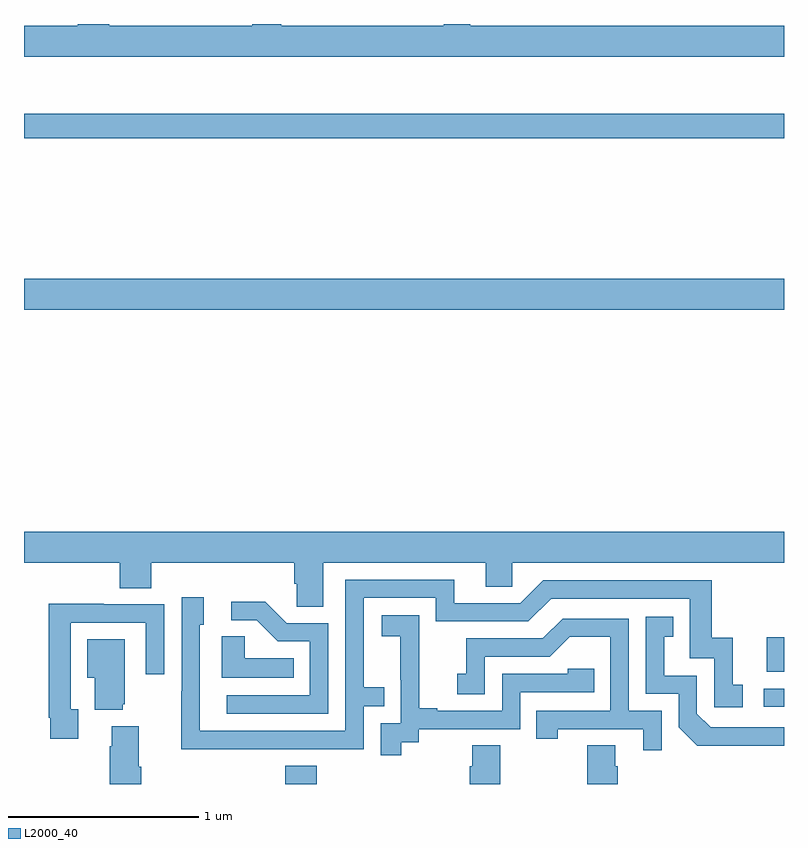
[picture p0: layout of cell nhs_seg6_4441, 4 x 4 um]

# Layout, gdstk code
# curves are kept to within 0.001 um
import gdstk
lib = gdstk.Library(unit=1e-6, precision=1e-09)
def R(c, l, rs):  # rectangles x0, y0, x1, y1
    for r in rs: c.add(gdstk.rectangle(r[:2], r[2:], *l))
def P(c, l, *ps):  # polygons
    for p in ps: c.add(gdstk.Polygon(p, *l))
L2000_40 = (2000, 40)

nhs_seg6_4441 = lib.new_cell('nhs_seg6_4441')
R(nhs_seg6_4441, L2000_40, [(374.375,951.5,374.54,951.595), (376.893,951.906,377,952.002), (376.91,952.091,377,952.273), (373,953.996,377,954.16), (373,954.898,377,955.027)])
P(nhs_seg6_4441, L2000_40, [(377,955.492),(375.348,955.492),(375.348,955.5),(375.209,955.5),(375.209,955.492),(374.353,955.492),(374.353,955.5),(374.201,955.5),(374.201,955.492),(373.448,955.492),(373.448,955.5),(373.283,955.5),(373.283,955.492),(373,955.492),(373,955.328),(377,955.328)],
  [(374.575,952.664),(375.431,952.664),(375.431,952.537),(375.57,952.537),(375.57,952.664),(377,952.664),(377,952.828),(373,952.828),(373,952.664),(373.505,952.664),(373.505,952.531),(373.67,952.531),(373.67,952.664),(374.423,952.664),(374.423,952.555),(374.436,952.555),(374.436,952.432),(374.575,952.432)],
  [(374.291,951.684),(374.787,951.684),(374.787,951.909),(374.897,951.909),(374.897,952.01),(374.787,952.01),(374.787,952.479),(375.168,952.479),(375.168,952.356),(375.654,952.356),(375.774,952.476),(376.503,952.476),(376.503,952.161),(376.632,952.161),(376.632,951.903),(376.783,951.903),(376.783,952.023),(376.73,952.023),(376.73,952.27),(376.619,952.27),(376.619,952.572),(375.732,952.572),(375.612,952.452),(375.265,952.452),(375.265,952.575),(374.691,952.575),(374.691,951.78),(373.926,951.78),(373.926,952.338),(373.945,952.338),(373.945,952.483),(373.83,952.483),(373.83,951.989),(373.828,951.989),(373.828,951.683)],
  [(374.601,952.347),(374.382,952.347),(374.269,952.46),(374.091,952.46),(374.091,952.362),(374.225,952.362),(374.336,952.251),(374.505,952.251),(374.505,951.966),(374.067,951.966),(374.067,951.87),(374.601,951.87)],
  [(373.285,951.894),(373.245,951.894),(373.245,952.35),(373.641,952.35),(373.641,952.077),(373.737,952.077),(373.737,952.446),(373.421,952.446),(373.421,952.448),(373.129,952.448),(373.129,951.85),(373.137,951.85),(373.137,951.738),(373.285,951.738)],
  [(374.986,951.721),(375.078,951.721),(375.078,951.789),(375.612,951.789),(375.612,951.984),(376.001,951.984),(376.001,952.107),(375.861,952.107),(375.861,952.08),(375.516,952.08),(375.516,951.885),(375.175,951.885),(375.175,951.898),(375.08,951.898),(375.08,952.181),(375.081,952.181),(375.081,952.387),(374.883,952.387),(374.883,952.277),(374.981,952.277),(374.981,952.049),(374.982,952.049),(374.982,951.819),(374.877,951.819),(374.877,951.651),(374.986,951.651)],
  [(376.952,951.702),(377,951.702),(377,951.798),(376.614,951.798),(376.542,951.87),(376.542,952.071),(376.369,952.071),(376.369,952.275),(376.418,952.275),(376.418,952.381),(376.272,952.381),(376.272,951.975),(376.446,951.975),(376.446,951.798),(376.544,951.701)],
  [(376.356,951.885),(376.182,951.885),(376.182,952.371),(375.836,952.371),(375.731,952.266),(375.328,952.266),(375.328,952.081),(375.279,952.081),(375.279,951.972),(375.426,951.972),(375.426,952.17),(375.768,952.17),(375.872,952.274),(376.086,952.274),(376.086,951.885),(375.697,951.885),(375.697,951.738),(375.808,951.738),(375.808,951.789),(376.259,951.789),(376.259,951.678),(376.356,951.678)],
  [(374.42,952.162),(374.163,952.162),(374.163,952.277),(374.042,952.277),(374.042,952.058),(374.42,952.058)],
  [(373.52,951.921),(373.531,951.921),(373.531,952.261),(373.334,952.261),(373.334,952.058),(373.373,952.058),(373.373,951.89),(373.52,951.89)],
  [(373.616,951.592),(373.603,951.592),(373.603,951.805),(373.463,951.805),(373.463,951.698),(373.451,951.698),(373.451,951.5),(373.616,951.5)],
  [(375.507,951.704),(375.359,951.704),(375.359,951.594),(375.347,951.594),(375.347,951.5),(375.507,951.5)],
  [(376.124,951.594),(376.111,951.594),(376.111,951.704),(375.964,951.704),(375.964,951.5),(376.124,951.5)])

lib.write_gds('nhs_seg6_4441.gds')
